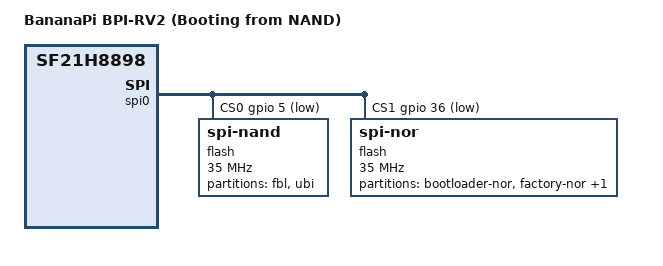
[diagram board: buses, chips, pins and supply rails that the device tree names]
/dts-v1/;
#include "sf21h8898-bpi-rv2.dtsi"

/ {
	model = "BananaPi BPI-RV2 (Booting from NAND)";
	compatible = "bananapi,bpi-rv2-nand", "siflower,sf21h8898";
};

&spi0 {
	status = "okay";
	num-cs = <2>;
	cs-gpios = <&gpio 5 GPIO_ACTIVE_LOW>, <&gpio 36 GPIO_ACTIVE_LOW>;

	flash@0 {
		compatible = "spi-nand";
		reg = <0>;
		spi-max-frequency = <35000000>;
		spi-tx-bus-width = <2>;
		spi-rx-bus-width = <2>;
		#address-cells = <1>;
		#size-cells = <1>;

		partitions {
			compatible = "fixed-partitions";
			#address-cells = <1>;
			#size-cells = <1>;

			partition@0 {
				label = "fbl";
				reg = <0x0 0x20000>;
			};

			partition@20000 {
				label = "ubi";
				reg = <0x20000 0x0>;
				compatible = "linux,ubi";

				volumes {
					factory: ubi-volume-factory {
						volname = "factory";
					};
				};
			};
		};
	};

	flash@1 {
		compatible = "jedec,spi-nor";
		reg = <1>;
		spi-max-frequency = <35000000>;
		spi-tx-bus-width = <2>;
		spi-rx-bus-width = <2>;

		partitions {
			compatible = "fixed-partitions";
			#address-cells = <1>;
			#size-cells = <1>;

			partition@0 {
				label = "bootloader-nor";
				reg = <0x0 0x90000>;
				read-only;
			};

			partition@90000 {
				label = "factory-nor";
				reg = <0x90000 0x10000>;
			};

			partition@a0000 {
				label = "firmware-nor";
				reg = <0xa0000 0xf60000>;
			};
		};
	};
};

#include "sf21h8898-factory.dtsi"
